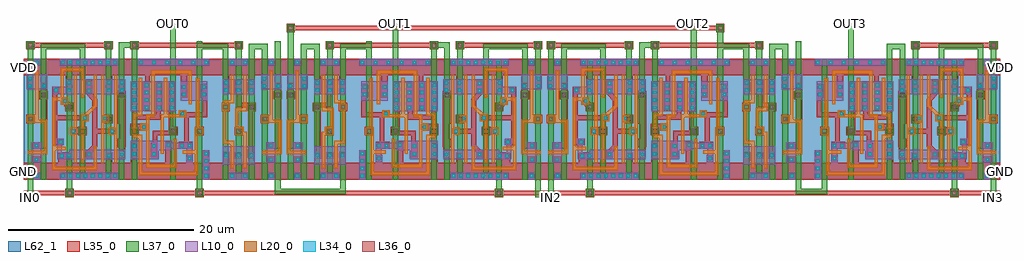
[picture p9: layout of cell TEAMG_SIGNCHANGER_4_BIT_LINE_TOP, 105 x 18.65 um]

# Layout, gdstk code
from math import pi, radians
import gdstk
lib = gdstk.Library(unit=1e-6, precision=1e-09)
def R(c, l, rs):  # rectangles x0, y0, x1, y1
    for r in rs: c.add(gdstk.rectangle(r[:2], r[2:], *l))
def A(c, l, x, y, w, h, nx, ny, dx, dy):  # array of equal rectangles
    R(c, l, [(x+i*dx, y+j*dy, x+i*dx+w, y+j*dy+h) for i in range(nx) for j in range(ny)])
def P(c, l, *ps):  # polygons
    for p in ps: c.add(gdstk.Polygon(p, *l))
L10_0 = (10, 0)
L20_0 = (20, 0)
L34_0 = (34, 0)
L35_0 = (35, 0)
L36_0 = (36, 0)
L37_0 = (37, 0)
L62_1 = (62, 1)

inv1_h = lib.new_cell('INV1_H')
R(inv1_h, L10_0, [(1.05,0,1.75,0.75), (0.85,1.8,1.85,4), (0.3,9.7,2.5,11.3), (1.05,12.25,1.75,13)])
P(inv1_h, L20_0, [(2.525,6.45),(1.575,6.45),(1.575,11.7),(1.225,11.7),(1.225,6.9),(0.3,6.9),(0.3,6.1),(2.175,6.1),(2.175,3.075),(0.425,3.075),(0.425,2.725),(2.525,2.725)])
R(inv1_h, L34_0, [(1.2,0.2,1.6,0.6), (1.15,1.95,1.55,2.35), (1.15,3.45,1.55,3.85), (0.5,6.3,0.9,6.7), (0.45,9.85,0.85,10.25), (1.95,9.85,2.35,10.25), (0.45,10.65,0.85,11.05), (1.2,12.4,1.6,12.8)])
R(inv1_h, L35_0, [(0,0,2.8,1.8), (0.25,6.05,1.15,6.95), (0.25,6.05,1.15,6.95), (1.65,8.65,2.55,9.55), (0,11.2,2.8,13)])
P(inv1_h, L35_0, [(2.8,1.8),(1.75,1.8),(1.75,2.5),(1,2.5),(1,1.8),(0,1.8),(0,0),(2.8,0)],
  [(2.55,9.55),(2.5,9.55),(2.5,10.4),(1.8,10.4),(1.8,9.55),(1.65,9.55),(1.65,8.65),(1.8,8.65),(1.8,4),(1,4),(1,3.3),(2.5,3.3),(2.5,8.65),(2.55,8.65)],
  [(2.8,13),(0,13),(0,11.2),(0.3,11.2),(0.3,9.7),(1,9.7),(1,11.2),(2.8,11.2)])
R(inv1_h, L36_0, [(0.45,6.25,0.95,6.75), (1.85,8.85,2.35,9.35)])
R(inv1_h, L37_0, [(0.4,0,1,13), (1.8,0,2.4,13), (0.3,6.1,1.1,6.9), (1.7,8.7,2.5,9.5)])
R(inv1_h, L62_1, [(0,0,2.8,13)])
inv1_h.add(gdstk.Label('INV1', (1.4,9.5), layer=61, texttype=2))
inv1_h.add(gdstk.Label('A', (0.7,13), layer=37, texttype=0))
inv1_h.add(gdstk.Label('Q', (2.1,13), layer=37, texttype=0))
inv1_h.add(gdstk.Label('A', (0.7,0), layer=37, texttype=0))
inv1_h.add(gdstk.Label('Q', (2.1,0), layer=37, texttype=0))
inv1_h.add(gdstk.Label('VDD', (0,12.1), layer=35, texttype=0))
inv1_h.add(gdstk.Label('GND', (0,0.9), layer=35, texttype=0))
inv1_h.add(gdstk.Label('VDD', (2.8,12.1), layer=35, texttype=0))
inv1_h.add(gdstk.Label('GND', (2.8,0.9), layer=35, texttype=0))

xor21_h = lib.new_cell('XOR21_H')
R(xor21_h, L10_0, [(8.05,0,8.75,3.15), (0.3,7.35,5.05,10.55), (5.65,8.5,8.5,10.55), (1.05,12.25,8.75,13)])
P(xor21_h, L10_0, [(6.95,4.025),(5.45,4.025),(5.45,3.975),(4.7,3.975),(4.7,4.175),(0.3,4.175),(0.3,2.175),(3.3,2.175),(3.3,3.175),(4.7,3.175),(4.7,3.325),(6.3,3.325),(6.3,2.575),(6.25,2.575),(6.25,1.875),(6.95,1.875)])
P(xor21_h, L20_0, [(6.85,11.75),(2.5,11.75),(2.5,7.025),(1.95,7.025),(1.95,6.05),(1.3,6.05),(1.3,5.25),(1.95,5.25),(1.95,1.275),(5.25,1.275),(5.25,4.375),(4.9,4.375),(4.9,1.625),(2.3,1.625),(2.3,6.675),(2.85,6.675),(2.85,11.4),(6.5,11.4),(6.5,8.1),(6.85,8.1)],
  [(8.1,5.6),(7.65,5.6),(7.65,10.95),(7.3,10.95),(7.3,5.6),(7.15,5.6),(7.15,3.125),(5.9,3.125),(5.9,2.775),(7.15,2.775),(7.15,0.825),(1.5,0.825),(1.5,4.8),(0.85,4.8),(0.85,6.8),(1.5,6.8),(1.5,10.95),(1.15,10.95),(1.15,7.15),(0.5,7.15),(0.5,4.45),(1.15,4.45),(1.15,0.475),(7.5,0.475),(7.5,4.8),(8.1,4.8)],
  [(6.275,7.475),(5.475,7.475),(5.475,7.025),(4.2,7.025),(4.2,10.95),(3.85,10.95),(3.85,7.025),(3.5,7.025),(3.5,2.775),(3.85,2.775),(3.85,6.675),(6.275,6.675)])
A(xor21_h, L34_0, 8.2, 0.2, 0.4, 0.4, 1, 4, 0, 0.8)
A(xor21_h, L34_0, 0.45, 7.55, 0.4, 0.4, 4, 4, 1.35, 0.8)
A(xor21_h, L34_0, 1.2, 12.4, 0.4, 0.4, 6, 1, 1.4, 0)
R(xor21_h, L34_0, [(6.4,2.05,6.8,2.45), (0.45,2.55,0.85,2.95), (2.6,2.55,3,2.95), (0.45,3.4,0.85,3.8), (2.6,3.4,3,3.8), (5.6,3.45,6,3.85), (6.4,3.45,6.8,3.85), (4.15,3.5,4.55,3.9), (7.5,5,7.9,5.4), (1.5,5.45,1.9,5.85), (5.65,6.9,6.05,7.3), (5.8,8.95,6.2,9.35), (7.95,8.95,8.35,9.35), (5.8,9.75,6.2,10.15), (7.95,9.75,8.35,10.15)])
R(xor21_h, L35_0, [(0.25,4.75,1.15,5.65), (4.4,4.75,5.3,5.65), (7.25,4.75,8.15,5.65), (7.25,4.75,8.15,5.65)])
P(xor21_h, L35_0, [(5.35,5.65),(4.85,5.65),(4.85,7.4),(5.05,7.4),(5.05,10.5),(4.35,10.5),(4.35,5.25),(2.65,5.25),(2.65,3.95),(2.45,3.95),(2.45,2.4),(3.15,2.4),(3.15,4.75),(5.35,4.75)],
  [(9.8,1.8),(8.75,1.8),(8.75,3.15),(8.05,3.15),(8.05,1.8),(6.95,1.8),(6.95,2.6),(6.25,2.6),(6.25,1.8),(4.7,1.8),(4.7,4.05),(4,4.05),(4,1.8),(1,1.8),(1,3.95),(0.3,3.95),(0.3,1.8),(0,1.8),(0,0),(9.8,0)],
  [(8.5,10.3),(7.8,10.3),(7.8,8.8),(8,8.8),(8,7.25),(6.25,7.25),(6.25,7.45),(5.5,7.45),(5.5,6.7),(6.05,6.7),(6.05,4.05),(5.45,4.05),(5.45,3.3),(6.95,3.3),(6.95,4.05),(6.55,4.05),(6.55,6.7),(8.5,6.7)],
  [(9.8,13),(0,13),(0,11.2),(1.85,11.2),(1.85,10.5),(1.65,10.5),(1.65,7.4),(2.35,7.4),(2.35,11.2),(5.65,11.2),(5.65,8.8),(6.35,8.8),(6.35,11.2),(9.8,11.2)],
  [(3.7,10.5),(3,10.5),(3,6.95),(1,6.95),(1,10.5),(0.3,10.5),(0.3,7.4),(0.5,7.4),(0.5,6.45),(3.5,6.45),(3.5,7.4),(3.7,7.4)],
  [(2.05,6),(0.25,6),(0.25,4.75),(1.15,4.75),(1.15,5.3),(2.05,5.3)])
R(xor21_h, L36_0, [(0.45,4.95,0.95,5.45), (4.6,4.95,5.1,5.45), (7.45,4.95,7.95,5.45)])
R(xor21_h, L37_0, [(0.4,0,1,13), (4.55,0,5.15,13), (7.4,0,8,13), (0.3,4.8,1.1,5.6), (4.45,4.8,5.25,5.6), (7.3,4.8,8.1,5.6)])
R(xor21_h, L62_1, [(0,0,9.8,13)])
xor21_h.add(gdstk.Label('XOR21', (4.9,9.5), layer=61, texttype=2))
xor21_h.add(gdstk.Label('A', (0.7,13), layer=37, texttype=0))
xor21_h.add(gdstk.Label('Q', (4.85,13), layer=37, texttype=0))
xor21_h.add(gdstk.Label('B', (7.7,13), layer=37, texttype=0))
xor21_h.add(gdstk.Label('GND', (9.8,0.9), layer=35, texttype=0))
xor21_h.add(gdstk.Label('GND', (0,0.9), layer=35, texttype=0))
xor21_h.add(gdstk.Label('VDD', (9.8,12.1), layer=35, texttype=0))
xor21_h.add(gdstk.Label('VDD', (0,12.1), layer=35, texttype=0))
xor21_h.add(gdstk.Label('A', (0.7,0), layer=37, texttype=0))
xor21_h.add(gdstk.Label('Q', (4.85,0), layer=37, texttype=0))
xor21_h.add(gdstk.Label('B', (7.7,0), layer=37, texttype=0))

via1 = lib.new_cell('VIA1')
R(via1, L35_0, [(-0.45,-0.45,0.45,0.45)])
R(via1, L36_0, [(-0.25,-0.25,0.25,0.25)])
R(via1, L37_0, [(-0.4,-0.4,0.4,0.4)])

mux21_h = lib.new_cell('MUX21_H')
R(mux21_h, L10_0, [(1.05,0,7.35,0.75), (1.05,12.25,7.35,13)])
P(mux21_h, L10_0, [(8.1,3.2),(2.05,3.2),(2.05,2.95),(1.275,2.95),(1.275,3.7),(1.475,3.7),(1.475,4.4),(0.775,4.4),(0.775,2.2),(8.1,2.2)],
  [(8.1,10.8),(1.7,10.8),(1.7,10),(0.3,10),(0.3,9.2),(8.1,9.2)])
P(mux21_h, L20_0, [(7.25,11.2),(6.9,11.2),(6.9,5.625),(6.3,5.625),(6.3,4.825),(6.9,4.825),(6.9,1.8),(7.25,1.8)],
  [(6.3,6.925),(5.85,6.925),(5.85,11.2),(5.5,11.2),(5.5,1.8),(5.85,1.8),(5.85,6.125),(6.3,6.125)],
  [(5.05,3.6),(4.7,3.6),(4.7,1.35),(0.575,1.35),(0.575,3.15),(1.675,3.15),(1.675,3.5),(0.575,3.5),(0.575,8.5),(1.175,8.5),(1.175,8.05),(1.975,8.05),(1.975,8.85),(1.5,8.85),(1.5,11.65),(3.35,11.65),(3.35,8.8),(3.7,8.8),(3.7,12),(1.15,12),(1.15,8.85),(0.225,8.85),(0.225,1),(5.05,1)],
  [(5.05,11.2),(4.7,11.2),(4.7,7.998),(3.752,7.05),(3.35,7.05),(3.35,1.8),(3.7,1.8),(3.7,6.25),(4.15,6.25),(4.15,6.952),(5.05,7.852)],
  [(2.9,11.2),(2.55,11.2),(2.55,5.625),(2.1,5.625),(2.1,4.825),(2.55,4.825),(2.55,1.8),(2.9,1.8)])
A(mux21_h, L34_0, 1.2, 0.2, 0.4, 0.4, 8, 2, 0.8, 12.2)
R(mux21_h, L34_0, [(1.05,2.35,1.45,2.75), (1.85,2.35,2.25,2.75), (6.15,2.35,6.55,2.75), (4,2.5,4.4,2.9), (7.55,2.5,7.95,2.9), (0.95,3.85,1.35,4.25), (2.3,5,2.7,5.4), (6.5,5,6.9,5.4), (5.75,6.35,6.15,6.75), (3.55,6.45,3.95,6.85), (1.4,8.25,1.8,8.65), (4,9.35,4.4,9.75), (0.45,9.4,0.85,9.8), (1.85,9.4,2.25,9.8), (6.15,9.4,6.55,9.8), (7.55,9.4,7.95,9.8), (4,10.15,4.4,10.55), (1.85,10.2,2.25,10.6), (6.15,10.2,6.55,10.6), (7.55,10.2,7.95,10.6)])
R(mux21_h, L35_0, [(3.05,4.75,3.95,5.65), (5.85,6.05,6.75,6.95), (1.65,7.35,2.55,8.25), (7.25,8.65,8.15,9.55)])
P(mux21_h, L35_0, [(2.55,8.25),(2.15,8.25),(1.95,8.45),(1.95,8.8),(1.25,8.8),(1.25,8.1),(1.35,8.1),(1.65,7.8),(1.65,7.35),(2.55,7.35)],
  [(7.05,5.55),(6.35,5.55),(6.35,5.45),(5.1,5.45),(5.1,8.7),(4.55,9.25),(4.55,10.7),(3.85,10.7),(3.85,9.2),(4,9.2),(4,9.05),(4.55,8.5),(4.55,3.7),(3.9,3.05),(3.85,3.05),(3.85,2.35),(4.55,2.35),(4.55,2.95),(5.1,3.5),(5.1,4.95),(6.35,4.95),(6.35,4.85),(7.05,4.85)],
  [(4.1,7),(3.4,7),(3.4,6.9),(0.8,6.9),(0.8,9.25),(1,9.25),(1,9.95),(0.8,9.95),(0.8,10),(0.25,10),(0.25,3.7),(1.5,3.7),(1.5,4.4),(0.8,4.4),(0.8,6.4),(3.4,6.4),(3.4,6.3),(4.1,6.3)],
  [(3.95,5.65),(3.05,5.65),(3.05,5.6),(2.15,5.6),(2.15,4.85),(3.05,4.85),(3.05,4.75),(3.95,4.75)],
  [(8.15,9.55),(8.1,9.55),(8.1,10.75),(7.4,10.75),(7.4,9.55),(7.25,9.55),(7.25,6),(7.5,6),(7.5,4.4),(7.25,4.4),(7.25,3.45),(7.4,3.45),(7.4,2.35),(8.1,2.35),(8.1,3.45),(8.15,3.45)],
  [(6.75,6.95),(5.85,6.95),(5.85,6.9),(5.55,6.9),(5.55,6.15),(5.85,6.15),(5.85,6.05),(6.75,6.05)],
  [(8.4,1.8),(6.7,1.8),(6.7,2.9),(6,2.9),(6,1.8),(2.4,1.8),(2.4,2.9),(0.9,2.9),(0.9,1.8),(0,1.8),(0,0),(8.4,0)],
  [(8.4,13),(0,13),(0,11.2),(1.7,11.2),(1.7,9.25),(2.4,9.25),(2.4,11.2),(6,11.2),(6,9.25),(6.7,9.25),(6.7,11.2),(8.4,11.2)])
R(mux21_h, L36_0, [(3.25,4.95,3.75,5.45), (6.05,6.25,6.55,6.75), (1.85,7.55,2.35,8.05), (7.45,8.85,7.95,9.35)])
R(mux21_h, L37_0, [(1.8,0,2.4,13), (3.2,0,3.8,13), (6,0,6.6,13), (7.4,0,8,13), (3.1,4.8,3.9,5.6), (5.9,6.1,6.7,6.9), (1.7,7.4,2.5,8.2), (7.3,8.7,8.1,9.5)])
R(mux21_h, L62_1, [(0,0,8.4,13)])
mux21_h.add(gdstk.Label('MUX21', (4.2,9.5), layer=61, texttype=2))
mux21_h.add(gdstk.Label('S', (2.1,13), layer=37, texttype=0))
mux21_h.add(gdstk.Label('A', (3.5,13), layer=37, texttype=0))
mux21_h.add(gdstk.Label('B', (6.3,13), layer=37, texttype=0))
mux21_h.add(gdstk.Label('Q', (7.7,13), layer=37, texttype=0))
mux21_h.add(gdstk.Label('GND', (8.4,0.9), layer=35, texttype=0))
mux21_h.add(gdstk.Label('GND', (0,0.9), layer=35, texttype=0))
mux21_h.add(gdstk.Label('VDD', (8.4,12.1), layer=35, texttype=0))
mux21_h.add(gdstk.Label('VDD', (0,12.1), layer=35, texttype=0))
mux21_h.add(gdstk.Label('S', (2.1,0), layer=37, texttype=0))
mux21_h.add(gdstk.Label('A', (3.5,0), layer=37, texttype=0))
mux21_h.add(gdstk.Label('B', (6.3,0), layer=37, texttype=0))
mux21_h.add(gdstk.Label('Q', (7.7,0), layer=37, texttype=0))

nand21_h = lib.new_cell('NAND21_H')
R(nand21_h, L10_0, [(1.05,0,3.15,0.75), (0.4,1.6,3.8,3.6), (0.4,9.2,3.8,10.8), (1.05,12.25,3.15,13)])
P(nand21_h, L20_0, [(2.95,5.15),(2.625,5.15),(2.625,5.675),(2.05,5.675),(2.05,7.35),(2.95,7.35),(2.95,11.2),(2.6,11.2),(2.6,7.7),(1.7,7.7),(1.7,4.8),(2.6,4.8),(2.6,1.2),(2.95,1.2)],
  [(1.6,4.15),(0.775,4.15),(0.775,7.4),(1.1,7.4),(1.1,8.2),(1.6,8.2),(1.6,11.2),(1.25,11.2),(1.25,8.55),(0.425,8.55),(0.425,8.2),(0.3,8.2),(0.3,7.4),(0.425,7.4),(0.425,3.8),(1.25,3.8),(1.25,1.2),(1.6,1.2)])
A(nand21_h, L34_0, 0.55, 2.4, 0.4, 0.4, 3, 2, 1.35, 7)
A(nand21_h, L34_0, 0.55, 10.2, 0.4, 0.4, 3, 1, 1.35, 0)
R(nand21_h, L34_0, [(1.2,0.2,1.6,0.6), (2.6,0.2,3,0.6), (1.9,5,2.3,5.4), (0.5,7.6,0.9,8), (1.2,12.4,1.6,12.8), (2.6,12.4,3,12.8)])
R(nand21_h, L35_0, [(1.75,2.25,2.45,2.95), (1.65,4.75,2.55,5.65), (1.65,4.75,2.55,5.65), (0.25,7.35,1.15,8.25), (0.25,7.35,1.15,8.25), (3.05,7.35,3.95,8.25)])
P(nand21_h, L35_0, [(4.2,1.8),(1.1,1.8),(1.1,3),(0.4,3),(0.4,1.8),(0,1.8),(0,0),(4.2,0)],
  [(4.2,13),(0,13),(0,11.2),(0.4,11.2),(0.4,9.25),(1.1,9.25),(1.1,11.2),(3.1,11.2),(3.1,9.25),(3.8,9.25),(3.8,11.2),(4.2,11.2)],
  [(3.95,8.25),(2.45,8.25),(2.45,10.75),(1.75,10.75),(1.75,9.25),(1.95,9.25),(1.95,7.75),(3.05,7.75),(3.05,7.35),(3.1,7.35),(3.1,2.25),(3.8,2.25),(3.8,2.95),(3.6,2.95),(3.6,7.35),(3.95,7.35)])
R(nand21_h, L36_0, [(1.85,4.95,2.35,5.45), (0.45,7.55,0.95,8.05), (3.25,7.55,3.75,8.05)])
A(nand21_h, L37_0, 0.4, 0, 0.6, 13, 3, 1, 1.4, 0)
R(nand21_h, L37_0, [(1.7,4.8,2.5,5.6), (0.3,7.4,1.1,8.2), (3.1,7.4,3.9,8.2)])
R(nand21_h, L62_1, [(0,0,4.2,13)])
nand21_h.add(gdstk.Label('NAND21', (2.1,9.5), layer=61, texttype=2))
nand21_h.add(gdstk.Label('B', (0.7,13), layer=37, texttype=0))
nand21_h.add(gdstk.Label('Q', (3.5,13), layer=37, texttype=0))
nand21_h.add(gdstk.Label('A', (2.1,13), layer=37, texttype=0))
nand21_h.add(gdstk.Label('GND', (4.2,0.9), layer=35, texttype=0))
nand21_h.add(gdstk.Label('GND', (0,0.9), layer=35, texttype=0))
nand21_h.add(gdstk.Label('VDD', (4.2,12.1), layer=35, texttype=0))
nand21_h.add(gdstk.Label('VDD', (0,12.1), layer=35, texttype=0))
nand21_h.add(gdstk.Label('B', (0.7,0), layer=37, texttype=0))
nand21_h.add(gdstk.Label('Q', (3.5,0), layer=37, texttype=0))
nand21_h.add(gdstk.Label('A', (2.1,0), layer=37, texttype=0))

teamg_halfadder_rt = lib.new_cell('TEAMG_HALFADDER_RT')
teamg_halfadder_rt.add(gdstk.FlexPath([(0.4,51.95),(-11.4,51.95)], 0.5, ends="flush", simple_path=True, layer=35, datatype=0))  # L35_0
teamg_halfadder_rt.add(gdstk.FlexPath([(-11.8,51.95),(-11.5,51.95)], 0.6, ends="flush", simple_path=True, layer=37, datatype=0))  # L37_0
teamg_halfadder_rt.add(gdstk.FlexPath([(-11.1,50.5),(-11.1,51.65)], 0.6, ends="flush", simple_path=True, layer=37, datatype=0))  # L37_0
teamg_halfadder_rt.add(gdstk.FlexPath([(4.3,52.4),(4.3,50.5)], 0.6, ends="flush", simple_path=True, layer=37, datatype=0))  # L37_0
teamg_halfadder_rt.add(gdstk.FlexPath([(-4.1,52.4),(-4.1,50.9)], 0.6, ends="flush", simple_path=True, layer=37, datatype=0))  # L37_0
teamg_halfadder_rt.add(gdstk.FlexPath([(-6.95,52.4),(-6.95,50.9)], 0.6, ends="flush", simple_path=True, layer=37, datatype=0))  # L37_0
teamg_halfadder_rt.add(gdstk.FlexPath([(2.9,50.5),(2.9,51.8),(1.5,51.8),(1.5,50.5)], 0.6, ends="flush", simple_path=True, layer=37, datatype=0))  # L37_0
teamg_halfadder_rt.add(gdstk.FlexPath([(-1.3,50.9),(-1.3,51.8),(-4.1,51.8),(-4.1,50.9)], 0.6, ends="flush", simple_path=True, layer=37, datatype=0))  # L37_0
teamg_halfadder_rt.add(gdstk.FlexPath([(0.1,50.5),(0.1,50.9)], 0.6, ends="flush", simple_path=True, layer=37, datatype=0))  # L37_0
teamg_halfadder_rt.add(gdstk.FlexPath([(-1.3,50.5),(-1.3,50.9)], 0.6, ends="flush", simple_path=True, layer=37, datatype=0))  # L37_0
teamg_halfadder_rt.add(gdstk.FlexPath([(-4.1,50.5),(-4.1,50.9)], 0.6, ends="flush", simple_path=True, layer=37, datatype=0))  # L37_0
teamg_halfadder_rt.add(gdstk.FlexPath([(-6.95,50.5),(-6.95,50.9)], 0.6, ends="flush", simple_path=True, layer=37, datatype=0))  # L37_0
teamg_halfadder_rt.add(gdstk.FlexPath([(0.1,51.85),(0.1,50.9)], 0.6, ends="flush", simple_path=True, layer=37, datatype=0))  # L37_0
teamg_halfadder_rt.add(gdstk.Reference(via1, (0.1,51.95)))
teamg_halfadder_rt.add(gdstk.Reference(via1, (-11.1,51.95)))
teamg_halfadder_rt.add(gdstk.Reference(nand21_h, (-2,37.5)))
teamg_halfadder_rt.add(gdstk.Reference(xor21_h, (-11.8,37.5)))
teamg_halfadder_rt.add(gdstk.Reference(inv1_h, (2.2,37.5)))
teamg_halfadder_rt.add(gdstk.Label('A', (-11.1,52.4), layer=35, texttype=0))
teamg_halfadder_rt.add(gdstk.Label('COUT', (4.3,37.5), layer=37, texttype=0))
teamg_halfadder_rt.add(gdstk.Label('GND', (5,38.4), layer=35, texttype=0))
teamg_halfadder_rt.add(gdstk.Label('A', (0.1,37.5), layer=37, texttype=0))
teamg_halfadder_rt.add(gdstk.Label('B', (-1.3,37.5), layer=37, texttype=0))
teamg_halfadder_rt.add(gdstk.Label('B', (-4.125,37.5), layer=37, texttype=0))
teamg_halfadder_rt.add(gdstk.Label('A', (-11.1,37.5), layer=37, texttype=0))
teamg_halfadder_rt.add(gdstk.Label('SUM', (-6.95,37.5), layer=37, texttype=0))
teamg_halfadder_rt.add(gdstk.Label('VDD', (-11.8,49.6), layer=35, texttype=0))
teamg_halfadder_rt.add(gdstk.Label('GND', (-11.8,38.4), layer=35, texttype=0))
teamg_halfadder_rt.add(gdstk.Label('A', (-11.8,51.95), layer=37, texttype=0))
teamg_halfadder_rt.add(gdstk.Label('COUT', (4.3,52.4), layer=37, texttype=0))
teamg_halfadder_rt.add(gdstk.Label('B', (-4.1,52.4), layer=37, texttype=0))
teamg_halfadder_rt.add(gdstk.Label('SUM', (-6.95,52.4), layer=37, texttype=0))
teamg_halfadder_rt.add(gdstk.Label('VDD', (5,49.6), layer=35, texttype=0))

teamg_signchanger_4_bit_ = lib.new_cell('TEAMG_SIGNCHANGER_4_BIT_LINE_TOP')
teamg_signchanger_4_bit_.add(gdstk.FlexPath([(50.15,46.9),(3.45,46.9)], 0.5, ends="flush", simple_path=True, layer=35, datatype=0))  # L35_0
teamg_signchanger_4_bit_.add(gdstk.FlexPath([(80,29.15),(-25,29.15)], 0.5, ends="flush", simple_path=True, layer=35, datatype=0))  # L35_0
teamg_signchanger_4_bit_.add(gdstk.FlexPath([(79.55,45.05),(70.65,45.05)], 0.5, ends="flush", simple_path=True, layer=35, datatype=0))  # L35_0
teamg_signchanger_4_bit_.add(gdstk.FlexPath([(31.45,45.05),(40.35,45.05)], 0.5, ends="flush", simple_path=True, layer=35, datatype=0))  # L35_0
teamg_signchanger_4_bit_.add(gdstk.FlexPath([(30.55,45.05),(21.65,45.05)], 0.5, ends="flush", simple_path=True, layer=35, datatype=0))  # L35_0
teamg_signchanger_4_bit_.add(gdstk.FlexPath([(-24.55,45.05),(-15.65,45.05)], 0.5, ends="flush", simple_path=True, layer=35, datatype=0))  # L35_0
teamg_signchanger_4_bit_.add(gdstk.FlexPath([(79.3,30.6),(79.3,28.7)], 0.6, ends="flush", simple_path=True, layer=37, datatype=0))  # L37_0
teamg_signchanger_4_bit_.add(gdstk.FlexPath([(31.7,28.7),(31.7,30.6)], 0.6, ends="flush", simple_path=True, layer=37, datatype=0))  # L37_0
teamg_signchanger_4_bit_.add(gdstk.FlexPath([(30.3,30.6),(30.3,28.7)], 0.6, ends="flush", simple_path=True, layer=37, datatype=0))  # L37_0
teamg_signchanger_4_bit_.add(gdstk.FlexPath([(-24.3,30.6),(-24.3,28.7)], 0.6, ends="flush", simple_path=True, layer=37, datatype=0))  # L37_0
teamg_signchanger_4_bit_.add(gdstk.FlexPath([(-24.3,45.3),(-24.3,43.6)], 0.6, ends="flush", simple_path=True, layer=37, datatype=0))  # L37_0
teamg_signchanger_4_bit_.add(gdstk.FlexPath([(30.3,45.3),(30.3,43.6)], 0.6, ends="flush", simple_path=True, layer=37, datatype=0))  # L37_0
teamg_signchanger_4_bit_.add(gdstk.FlexPath([(31.7,45.3),(31.7,43.6)], 0.6, ends="flush", simple_path=True, layer=37, datatype=0))  # L37_0
teamg_signchanger_4_bit_.add(gdstk.FlexPath([(79.3,45.3),(79.3,43.6)], 0.6, ends="flush", simple_path=True, layer=37, datatype=0))  # L37_0
teamg_signchanger_4_bit_.add(gdstk.FlexPath([(-8.95,47.35),(-8.95,45.5)], 0.6, ends="flush", simple_path=True, layer=37, datatype=0))  # L37_0
teamg_signchanger_4_bit_.add(gdstk.FlexPath([(14.95,47.35),(14.95,45.5)], 0.6, ends="flush", simple_path=True, layer=37, datatype=0))  # L37_0
teamg_signchanger_4_bit_.add(gdstk.FlexPath([(47.05,45.5),(47.05,47.35)], 0.6, ends="flush", simple_path=True, layer=37, datatype=0))  # L37_0
teamg_signchanger_4_bit_.add(gdstk.FlexPath([(63.95,43.6),(63.95,47.35)], 0.6, ends="flush", simple_path=True, layer=37, datatype=0))  # L37_0
teamg_signchanger_4_bit_.add(gdstk.FlexPath([(61.1,30.6),(61.1,29.3),(58.3,29.3),(58.3,30.6)], 0.6, ends="flush", simple_path=True, layer=37, datatype=0))  # L37_0
teamg_signchanger_4_bit_.add(gdstk.FlexPath([(3.7,47.15),(3.7,45.5)], 0.6, ends="flush", simple_path=True, layer=37, datatype=0))  # L37_0
teamg_signchanger_4_bit_.add(gdstk.FlexPath([(49.9,47.15),(49.9,45.5)], 0.6, ends="flush", simple_path=True, layer=37, datatype=0))  # L37_0
teamg_signchanger_4_bit_.add(gdstk.FlexPath([(75.1,28.9),(75.1,30.6)], 0.6, ends="flush", simple_path=True, layer=37, datatype=0))  # L37_0
teamg_signchanger_4_bit_.add(gdstk.FlexPath([(35.9,28.85),(35.9,30.6)], 0.6, ends="flush", simple_path=True, layer=37, datatype=0))  # L37_0
teamg_signchanger_4_bit_.add(gdstk.FlexPath([(26.1,28.9),(26.1,30.6)], 0.6, ends="flush", simple_path=True, layer=37, datatype=0))  # L37_0
teamg_signchanger_4_bit_.add(gdstk.FlexPath([(68.1,43.6),(68.1,44.9),(69.5,44.9),(69.5,43.6)], 0.6, ends="flush", simple_path=True, layer=37, datatype=0))  # L37_0
teamg_signchanger_4_bit_.add(gdstk.FlexPath([(70.9,44.8),(70.9,43.6)], 0.6, ends="flush", simple_path=True, layer=37, datatype=0))  # L37_0
teamg_signchanger_4_bit_.add(gdstk.FlexPath([(77.9,43.6),(77.9,44.9),(73.7,44.9),(73.7,43.6)], 0.6, ends="flush", simple_path=True, layer=37, datatype=0))  # L37_0
teamg_signchanger_4_bit_.add(gdstk.FlexPath([(40.1,45.3),(40.1,43.6)], 0.6, ends="flush", simple_path=True, layer=37, datatype=0))  # L37_0
teamg_signchanger_4_bit_.add(gdstk.FlexPath([(42.2,45.05),(41.5,45.05),(41.5,43.6)], 0.6, ends="flush", simple_path=True, layer=37, datatype=0))  # L37_0
teamg_signchanger_4_bit_.add(gdstk.FlexPath([(33.1,43.6),(33.1,44.9),(37.3,44.9),(37.3,43.6)], 0.6, ends="flush", simple_path=True, layer=37, datatype=0))  # L37_0
teamg_signchanger_4_bit_.add(gdstk.FlexPath([(21.9,45.3),(21.9,43.6)], 0.6, ends="flush", simple_path=True, layer=37, datatype=0))  # L37_0
teamg_signchanger_4_bit_.add(gdstk.FlexPath([(-15.9,45.3),(-15.9,43.6)], 0.6, ends="flush", simple_path=True, layer=37, datatype=0))  # L37_0
teamg_signchanger_4_bit_.add(gdstk.FlexPath([(19.8,45.05),(20.5,45.05),(20.5,43.6)], 0.6, ends="flush", simple_path=True, layer=37, datatype=0))  # L37_0
teamg_signchanger_4_bit_.add(gdstk.FlexPath([(-13.8,45.05),(-14.5,45.05),(-14.5,43.6)], 0.6, ends="flush", simple_path=True, layer=37, datatype=0))  # L37_0
teamg_signchanger_4_bit_.add(gdstk.FlexPath([(-20.1,28.9),(-20.1,30.6)], 0.6, ends="flush", simple_path=True, layer=37, datatype=0))  # L37_0
teamg_signchanger_4_bit_.add(gdstk.FlexPath([(-6.1,28.9),(-6.1,30.6)], 0.6, ends="flush", simple_path=True, layer=37, datatype=0))  # L37_0
teamg_signchanger_4_bit_.add(gdstk.FlexPath([(9.3,30.6),(9.3,29.3),(2.3,29.3),(2.3,30.6)], 0.6, ends="flush", simple_path=True, layer=37, datatype=0))  # L37_0
teamg_signchanger_4_bit_.add(gdstk.FlexPath([(28.9,43.6),(28.9,44.9),(24.7,44.9),(24.7,43.6)], 0.6, ends="flush", simple_path=True, layer=37, datatype=0))  # L37_0
teamg_signchanger_4_bit_.add(gdstk.FlexPath([(-22.9,43.6),(-22.9,44.9),(-18.7,44.9),(-18.7,43.6)], 0.6, ends="flush", simple_path=True, layer=37, datatype=0))  # L37_0
teamg_signchanger_4_bit_.add(gdstk.Reference(inv1_h, (31,30.6), rotation=pi, x_reflection=True))
teamg_signchanger_4_bit_.add(gdstk.Reference(inv1_h, (80,30.6), rotation=pi, x_reflection=True))
teamg_signchanger_4_bit_.add(gdstk.Reference(xor21_h, (68.8,30.6), rotation=pi, x_reflection=True))
teamg_signchanger_4_bit_.add(gdstk.Reference(via1, (3.7,46.9)))
teamg_signchanger_4_bit_.add(gdstk.Reference(via1, (49.9,46.9)))
teamg_signchanger_4_bit_.add(gdstk.Reference(via1, (35.9,29.15)))
teamg_signchanger_4_bit_.add(gdstk.Reference(via1, (75.1,29.15)))
teamg_signchanger_4_bit_.add(gdstk.Reference(via1, (79.3,45.05), rotation=pi, x_reflection=True))
teamg_signchanger_4_bit_.add(gdstk.Reference(via1, (70.9,45.05), rotation=pi, x_reflection=True))
teamg_signchanger_4_bit_.add(gdstk.Reference(mux21_h, (77.2,30.6), rotation=pi, x_reflection=True))
teamg_signchanger_4_bit_.add(gdstk.Reference(teamg_halfadder_rt, (54,-6.9)))
teamg_signchanger_4_bit_.add(gdstk.Reference(inv1_h, (31,30.6)))
teamg_signchanger_4_bit_.add(gdstk.Reference(via1, (31.7,45.05)))
teamg_signchanger_4_bit_.add(gdstk.Reference(via1, (40.1,45.05)))
teamg_signchanger_4_bit_.add(gdstk.Reference(mux21_h, (33.8,30.6)))
teamg_signchanger_4_bit_.add(gdstk.Reference(teamg_halfadder_rt, (-2,-6.9)))
teamg_signchanger_4_bit_.add(gdstk.Reference(via1, (26.1,29.15)))
teamg_signchanger_4_bit_.add(gdstk.Reference(via1, (-20.1,29.15)))
teamg_signchanger_4_bit_.add(gdstk.Reference(via1, (-6.1,29.15)))
teamg_signchanger_4_bit_.add(gdstk.Reference(via1, (-24.3,45.05)))
teamg_signchanger_4_bit_.add(gdstk.Reference(teamg_halfadder_rt, (8,-6.9), rotation=pi, x_reflection=True))
teamg_signchanger_4_bit_.add(gdstk.Reference(via1, (30.3,45.05), rotation=pi, x_reflection=True))
teamg_signchanger_4_bit_.add(gdstk.Reference(via1, (21.9,45.05), rotation=pi, x_reflection=True))
teamg_signchanger_4_bit_.add(gdstk.Reference(mux21_h, (28.2,30.6), rotation=pi, x_reflection=True))
teamg_signchanger_4_bit_.add(gdstk.Reference(via1, (-15.9,45.05)))
teamg_signchanger_4_bit_.add(gdstk.Reference(inv1_h, (-25,30.6)))
teamg_signchanger_4_bit_.add(gdstk.Reference(mux21_h, (-22.2,30.6)))
teamg_signchanger_4_bit_.add(gdstk.Label('IN3', (79.3,28.7), layer=37, texttype=0))
teamg_signchanger_4_bit_.add(gdstk.Label('IN2', (31.7,28.7), layer=37, texttype=0))
teamg_signchanger_4_bit_.add(gdstk.Label('IN1', (30.3,28.7), layer=37, texttype=0))
teamg_signchanger_4_bit_.add(gdstk.Label('IN0', (-24.3,28.7), layer=37, texttype=0))
teamg_signchanger_4_bit_.add(gdstk.Label('OUT3', (63.95,47.35), layer=37, texttype=0))
teamg_signchanger_4_bit_.add(gdstk.Label('OUT2', (47.05,47.35), layer=37, texttype=0))
teamg_signchanger_4_bit_.add(gdstk.Label('OUT1', (14.95,47.35), layer=37, texttype=0))
teamg_signchanger_4_bit_.add(gdstk.Label('OUT0', (-8.95,47.35), layer=37, texttype=0))
teamg_signchanger_4_bit_.add(gdstk.Label('VDD', (-25,42.7), layer=37, texttype=0))
teamg_signchanger_4_bit_.add(gdstk.Label('GND', (-25,31.5), layer=37, texttype=0))
teamg_signchanger_4_bit_.add(gdstk.Label('FLIP', (80,29.15), layer=37, texttype=0))
teamg_signchanger_4_bit_.add(gdstk.Label('VDD', (80,42.7), layer=37, texttype=0))
teamg_signchanger_4_bit_.add(gdstk.Label('GND', (80,31.5), layer=37, texttype=0))

lib.write_gds('TEAMG_SIGNCHANGER_4_BIT_LINE_TOP.gds')
